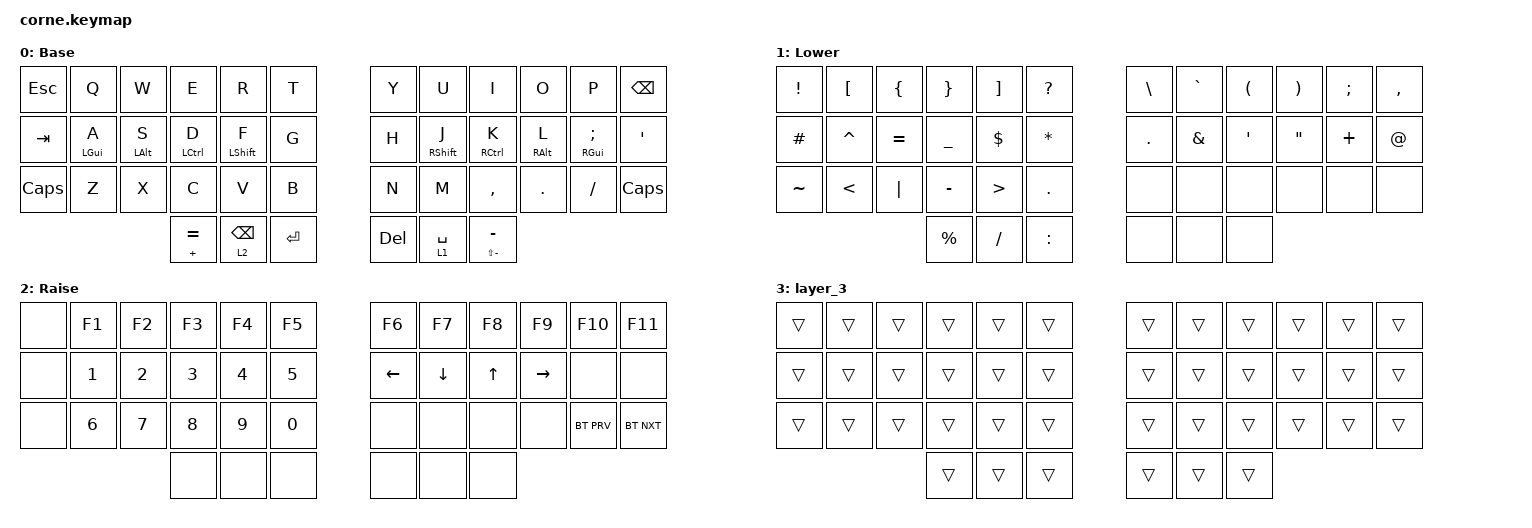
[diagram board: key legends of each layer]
/*
 * Copyright (c) 2020 The ZMK Contributors
 *
 * SPDX-License-Identifier: MIT
 */

#include <behaviors.dtsi>
#include <dt-bindings/zmk/bt.h>
#include <dt-bindings/zmk/keys.h>

/ {
    behaviors {
        HMR: HMR {
            compatible = "zmk,behavior-hold-tap";
            label = "HMR";
            bindings = <&kp>, <&kp>;

            #binding-cells = <2>;
            tapping-term-ms = <280>;
            quick-tap-ms = <175>;
            flavor = "tap-preferred";
            hold-trigger-key-positions = <0 1 2 3 4 5 12 13 14 15 16 17 24 25 26 27 28 29 36 37 38 39 40 41>;
            hold-trigger-on-release;
        };

        HML: HML {
            compatible = "zmk,behavior-hold-tap";
            label = "HML";
            bindings = <&kp>, <&kp>;

            #binding-cells = <2>;
            tapping-term-ms = <280>;
            quick-tap-ms = <175>;
            flavor = "tap-preferred";
            hold-trigger-on-release;
            hold-trigger-key-positions = <36 37 38 6 7 8 9 10 11 18 19 20 21 22 23 30 31 32 33 34 35 39 40 41>;
        };
    };

    keymap {
        compatible = "zmk,keymap";

        default_layer {
            // -----------------------------------------------------------------------------------------
            // |  TAB |  Q  |  W  |  E  |  R  |  T  |   |  Y  |  U   |  I  |  O  |  P  | BKSP |
            // | CTRL |  A  |  S  |  D  |  F  |  G  |   |  H  |  J   |  K  |  L  |  ;  |  '   |
            // | SHFT |  Z  |  X  |  C  |  V  |  B  |   |  N  |  M   |  ,  |  .  |  /  | ESC  |
            //                    | GUI | LWR | SPC |   | ENT | RSE  | ALT |

            display-name = "Base";
            bindings = <
&kp ESCAPE  &kp Q            &kp W            &kp E                &kp R              &kp T        &kp Y       &kp U               &kp I                 &kp O             &kp P                     &kp BSPC
&kp TAB     &HML LEFT_GUI A  &HML LEFT_ALT S  &HML LEFT_CONTROL D  &HML LEFT_SHIFT F  &kp G        &kp H       &HMR RIGHT_SHIFT J  &HMR RIGHT_CONTROL K  &HMR RIGHT_ALT L  &HMR RIGHT_GUI SEMICOLON  &kp SQT
&kp CLCK    &kp Z            &kp X            &kp C                &kp V              &kp B        &kp N       &kp M               &kp COMMA             &kp DOT           &kp FSLH                  &kp CLCK
                                              &HML PLUS EQUAL      &lt 2 BACKSPACE    &kp ENTER    &kp DELETE  &lt 1 SPACE         &HMR LS(MINUS) MINUS
            >;
        };

        lower_layer {
            // -----------------------------------------------------------------------------------------
            // |  TAB |  1  |  2  |  3  |  4  |  5  |   |  6  |  7  |  8  |  9  |  0  | BKSP |
            // | BTCLR| BT1 | BT2 | BT3 | BT4 | BT5 |   | LFT | DWN |  UP | RGT |     |      |
            // | SHFT |     |     |     |     |     |   |     |     |     |     |     |      |
            //                    | GUI |     | SPC |   | ENT |     | ALT |

            display-name = "Lower";
            bindings = <
&kp EXCL   &kp LEFT_BRACKET  &kp LEFT_BRACE  &kp RIGHT_BRACE  &kp RIGHT_BRACKET  &kp QMARK     &kp BACKSLASH  &kp GRAVE      &kp LEFT_PARENTHESIS  &kp RIGHT_PARENTHESIS  &kp SEMICOLON  &kp COMMA
&kp HASH   &kp CARET         &kp EQUAL       &kp UNDER        &kp DOLLAR         &kp STAR      &kp DOT        &kp AMPERSAND  &kp SINGLE_QUOTE      &kp DOUBLE_QUOTES      &kp PLUS       &kp AT
&kp TILDE  &kp LESS_THAN     &kp PIPE        &kp MINUS        &kp GREATER_THAN   &kp PERIOD    &none          &none          &none                 &none                  &none          &none
                                             &kp PERCENT      &kp SLASH          &kp COLON     &none          &none          &none
            >;
        };

        raise_layer {
            // -----------------------------------------------------------------------------------------
            // |  TAB |  !  |  @  |  #  |  $  |  %  |   |  ^  |  &  |  *  |  (  |  )  | BKSP |
            // | CTRL |     |     |     |     |     |   |  -  |  =  |  [  |  ]  |  \  |  `   |
            // | SHFT |     |     |     |     |     |   |  _  |  +  |  {  |  }  | "|" |  ~   |
            //                    | GUI |     | SPC |   | ENT |     | ALT |

            display-name = "Raise";
            bindings = <
&none  &kp F1        &kp F2        &kp F3        &kp F4        &kp F5    &kp F6          &kp F7          &kp F8        &kp F9           &kp F10     &kp F11
&none  &kp NUMBER_1  &kp NUMBER_2  &kp NUMBER_3  &kp NUMBER_4  &kp N5    &kp LEFT_ARROW  &kp DOWN_ARROW  &kp UP_ARROW  &kp RIGHT_ARROW  &none       &none
&none  &kp NUMBER_6  &kp N7        &kp N8        &kp N9        &kp N0    &none           &none           &none         &none            &bt BT_PRV  &bt BT_NXT
                                   &none         &none         &none     &none           &none           &none
            >;
        };

        layer_3 {
            bindings = <
&trans  &trans  &trans  &trans  &trans  &trans    &trans  &trans  &trans  &trans  &trans  &trans
&trans  &trans  &trans  &trans  &trans  &trans    &trans  &trans  &trans  &trans  &trans  &trans
&trans  &trans  &trans  &trans  &trans  &trans    &trans  &trans  &trans  &trans  &trans  &trans
                        &trans  &trans  &trans    &trans  &trans  &trans
            >;
        };
    };
};
